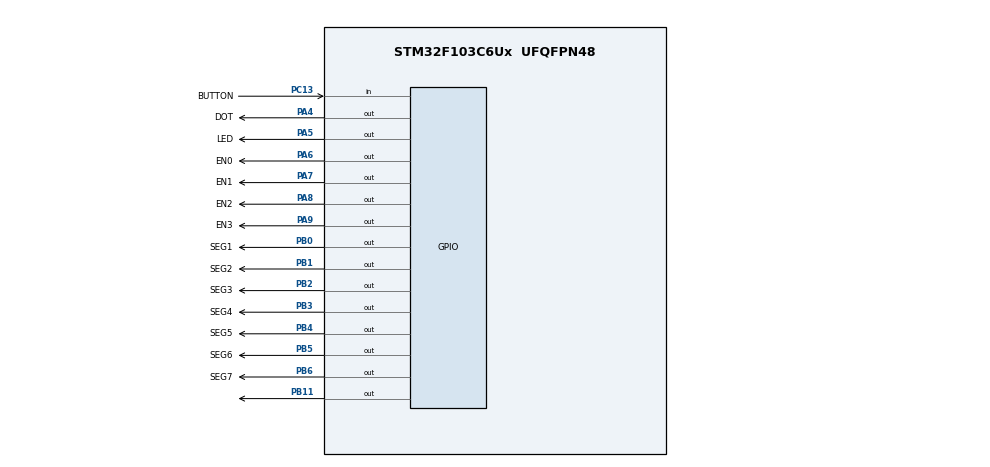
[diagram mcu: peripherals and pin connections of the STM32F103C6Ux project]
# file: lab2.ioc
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Mcu.Family=STM32F1
Mcu.Name=STM32F103C6Ux
Mcu.Package=UFQFPN48
NVIC.PriorityGroup=NVIC_PRIORITYGROUP_4
NVIC.TIM2_IRQn=true\:0\:0\:false\:false\:true\:true\:true
PA4.GPIO_Label=DOT
PA4.Signal=GPIO_Output
PA5.GPIO_Label=LED
PA5.Signal=GPIO_Output
PA6.GPIO_Label=EN0
PA6.Signal=GPIO_Output
PA7.GPIO_Label=EN1
PA7.Signal=GPIO_Output
PA8.GPIO_Label=EN2
PA8.Signal=GPIO_Output
PA9.GPIO_Label=EN3
PA9.Signal=GPIO_Output
PB0.GPIO_Label=SEG1
PB0.Signal=GPIO_Output
PB1.GPIO_Label=SEG2
PB1.Signal=GPIO_Output
PB11.Signal=GPIO_Output
PB2.GPIO_Label=SEG3
PB2.Signal=GPIO_Output
PB3.GPIO_Label=SEG4
PB3.Signal=GPIO_Output
PB4.GPIO_Label=SEG5
PB4.Signal=GPIO_Output
PB5.GPIO_Label=SEG6
PB5.Signal=GPIO_Output
PB6.GPIO_Label=SEG7
PB6.Signal=GPIO_Output
PC13-TAMPER-RTC.GPIO_Label=BUTTON
PC13-TAMPER-RTC.Signal=GPIO_Input
ProjectManager.HeapSize=0x200
ProjectManager.StackSize=0x400
ProjectManager.TargetToolchain=STM32CubeIDE
RCC.APB1Freq_Value=8000000
RCC.APB2Freq_Value=8000000
TIM1.Period=9
TIM1.Prescaler=7999
TIM2.Period=9
TIM2.Prescaler=7999
VP_SYS_VS_ND.Mode=No_Debug
VP_TIM1_VS_ClockSourceINT.Mode=Internal
VP_TIM2_VS_ClockSourceINT.Mode=Internal
board=custom

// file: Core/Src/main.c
/* USER CODE BEGIN Header */
/**
  ******************************************************************************
  * @file           : main.c
  * @brief          : Main program body
  ******************************************************************************
  * @attention
  *
  * <h2><center>&copy; Copyright (c) 2024 STMicroelectronics.
  * All rights reserved.</center></h2>
  *
  * This software component is licensed by ST under BSD 3-Clause license,
  * the "License"; You may not use this file except in compliance with the
  * License. You may obtain a copy of the License at:
  *                        opensource.org/licenses/BSD-3-Clause
  *
  ******************************************************************************
  */
/* USER CODE END Header */
#include "main.h"

TIM_HandleTypeDef htim1;
TIM_HandleTypeDef htim2;

void SystemClock_Config(void);
static void MX_TIM2_Init(void);
static void MX_GPIO_Init(void);
static void MX_TIM1_Init(void);

/* USER CODE BEGIN 0 */
int timer_count=0;
int timer_flag=0;
int TIME_CYCLE=10;
int timer_count1=0;
int timer_flag1=0;
void setTimer(int duration)
{
	timer_count=duration/TIME_CYCLE;
	timer_flag=0;
}

void timer_run()
{
	if(timer_count>0)
		{
		timer_count--;
		if(timer_count==0)timer_flag=1;
		}
}
void setTimer1(int duration)
{
	timer_count1=duration/TIME_CYCLE;
	timer_flag1=0;
}
void timer_run1()
{
	if(timer_count1>0)
		{
		timer_count1--;
		if(timer_count1==0)timer_flag1=1;
		}
}
/* USER CODE END 0 */

int main(void)
{

  /* MCU Configuration--------------------------------------------------------*/

  /* Reset of all peripherals, Initializes the Flash interface and the Systick. */
  HAL_Init();

  /* Configure the system clock */
  SystemClock_Config();

  /* USER CODE BEGIN SysInit */
  MX_GPIO_Init () ;
  /* USER CODE END SysInit */

  /* Initialize all configured peripherals */
  MX_TIM2_Init();
  MX_GPIO_Init();
  MX_TIM1_Init();
  /* USER CODE BEGIN 2 */
HAL_TIM_Base_Start_IT(&htim2);
  /* USER CODE END 2 */

  /* Infinite loop */
  /* USER CODE BEGIN WHILE */
const int MAX_LED=4;
int index=0;
int led_buffer[4]={1,2,3,4};
void update7SEG ( int index ) {
	switch(index)
	{
	case 0:
		open7segNumber(index);
		display7SEG(led_buffer[0]);
		break;
	case 1:
		open7segNumber(index);
		display7SEG(led_buffer[1]);
		break;
	case 2:
		open7segNumber(index);
		display7SEG(led_buffer[2]);
		break;
	case 3:
		open7segNumber(index);
		display7SEG(led_buffer[3]);
		break;
	}
}
void updateled(int h,int m)
{
	led_buffer[0]=h/10;
	led_buffer[1]=h%10;
	led_buffer[2]=m/10;
	led_buffer[3]=m%10;
}

int counter=100;
int hour=13;
int minute=8;
int second=50;
setTimer(10);
setTimer1(10);
  while (1)
  {

	  	 if(timer_flag==1)
	  	 {
	  		 setTimer(250);
	  		 if(index>3)
	  		 {
	  			 index=0;
	  			 update7SEG(index++);
	  		 }
	  		 else
	  		 {
	  			 update7SEG(index++);
	  		 }

	  	 }
	  	 if(timer_flag1==1)
	  		 {
	  		 second++;
	  		  if(second>=60)
	  		  	  {
	  		  		  minute++;
	  		  		  second=0;
	  		  	  }
	  		  	  if(minute>=60)
	  		  	  {
	  		  		  hour++;
	  		  		  minute=0;
	  		  	  }
	  		  	  if(hour>=24)
	  		  	  {
	  		  		  hour=0;
	  		  	  }

	  		  	  updateled(hour, minute);
  			 HAL_GPIO_TogglePin(DOT_GPIO_Port, DOT_Pin);
  			 setTimer1(1000);
	  		 }
    /* USER CODE END WHILE */

  }
}

void SystemClock_Config(void)
{
  RCC_OscInitTypeDef RCC_OscInitStruct = {0};
  RCC_ClkInitTypeDef RCC_ClkInitStruct = {0};

  /** Initializes the RCC Oscillators according to the specified parameters
  * in the RCC_OscInitTypeDef structure.
  */
  RCC_OscInitStruct.OscillatorType = RCC_OSCILLATORTYPE_HSI;
  RCC_OscInitStruct.HSIState = RCC_HSI_ON;
  RCC_OscInitStruct.HSICalibrationValue = RCC_HSICALIBRATION_DEFAULT;
  RCC_OscInitStruct.PLL.PLLState = RCC_PLL_NONE;
  if (HAL_RCC_OscConfig(&RCC_OscInitStruct) != HAL_OK)
  {
    Error_Handler();
  }
  /** Initializes the CPU, AHB and APB buses clocks
  */
  RCC_ClkInitStruct.ClockType = RCC_CLOCKTYPE_HCLK|RCC_CLOCKTYPE_SYSCLK
                              |RCC_CLOCKTYPE_PCLK1|RCC_CLOCKTYPE_PCLK2;
  RCC_ClkInitStruct.SYSCLKSource = RCC_SYSCLKSOURCE_HSI;
  RCC_ClkInitStruct.AHBCLKDivider = RCC_SYSCLK_DIV1;
  RCC_ClkInitStruct.APB1CLKDivider = RCC_HCLK_DIV1;
  RCC_ClkInitStruct.APB2CLKDivider = RCC_HCLK_DIV1;

  if (HAL_RCC_ClockConfig(&RCC_ClkInitStruct, FLASH_LATENCY_0) != HAL_OK)
  {
    Error_Handler();
  }
}

static void MX_TIM1_Init(void)
{

  TIM_ClockConfigTypeDef sClockSourceConfig = {0};
  TIM_MasterConfigTypeDef sMasterConfig = {0};

  htim1.Instance = TIM1;
  htim1.Init.Prescaler = 7999;
  htim1.Init.CounterMode = TIM_COUNTERMODE_UP;
  htim1.Init.Period = 9;
  htim1.Init.ClockDivision = TIM_CLOCKDIVISION_DIV1;
  htim1.Init.RepetitionCounter = 0;
  htim1.Init.AutoReloadPreload = TIM_AUTORELOAD_PRELOAD_DISABLE;
  if (HAL_TIM_Base_Init(&htim1) != HAL_OK)
  {
    Error_Handler();
  }
  sClockSourceConfig.ClockSource = TIM_CLOCKSOURCE_INTERNAL;
  if (HAL_TIM_ConfigClockSource(&htim1, &sClockSourceConfig) != HAL_OK)
  {
    Error_Handler();
  }
  sMasterConfig.MasterOutputTrigger = TIM_TRGO_RESET;
  sMasterConfig.MasterSlaveMode = TIM_MASTERSLAVEMODE_DISABLE;
  if (HAL_TIMEx_MasterConfigSynchronization(&htim1, &sMasterConfig) != HAL_OK)
  {
    Error_Handler();
  }

}

static void MX_TIM2_Init(void)
{

  TIM_ClockConfigTypeDef sClockSourceConfig = {0};
  TIM_MasterConfigTypeDef sMasterConfig = {0};

  htim2.Instance = TIM2;
  htim2.Init.Prescaler = 7999;
  htim2.Init.CounterMode = TIM_COUNTERMODE_UP;
  htim2.Init.Period = 9;
  htim2.Init.ClockDivision = TIM_CLOCKDIVISION_DIV1;
  htim2.Init.AutoReloadPreload = TIM_AUTORELOAD_PRELOAD_DISABLE;
  if (HAL_TIM_Base_Init(&htim2) != HAL_OK)
  {
    Error_Handler();
  }
  sClockSourceConfig.ClockSource = TIM_CLOCKSOURCE_INTERNAL;
  if (HAL_TIM_ConfigClockSource(&htim2, &sClockSourceConfig) != HAL_OK)
  {
    Error_Handler();
  }
  sMasterConfig.MasterOutputTrigger = TIM_TRGO_RESET;
  sMasterConfig.MasterSlaveMode = TIM_MASTERSLAVEMODE_DISABLE;
  if (HAL_TIMEx_MasterConfigSynchronization(&htim2, &sMasterConfig) != HAL_OK)
  {
    Error_Handler();
  }

}

static void MX_GPIO_Init(void)
{
  GPIO_InitTypeDef GPIO_InitStruct = {0};

  /* GPIO Ports Clock Enable */
  __HAL_RCC_GPIOC_CLK_ENABLE();
  __HAL_RCC_GPIOA_CLK_ENABLE();
  __HAL_RCC_GPIOB_CLK_ENABLE();

  /*Configure GPIO pin Output Level */
  HAL_GPIO_WritePin(GPIOA, DOT_Pin|LED_Pin|EN0_Pin|EN1_Pin
                          |EN2_Pin|EN3_Pin, GPIO_PIN_RESET);

  /*Configure GPIO pin Output Level */
  HAL_GPIO_WritePin(GPIOB, SEG1_Pin|SEG2_Pin|SEG3_Pin|GPIO_PIN_11
                          |SEG4_Pin|SEG5_Pin|SEG6_Pin|SEG7_Pin, GPIO_PIN_RESET);

  /*Configure GPIO pin : BUTTON_Pin */
  GPIO_InitStruct.Pin = BUTTON_Pin;
  GPIO_InitStruct.Mode = GPIO_MODE_INPUT;
  GPIO_InitStruct.Pull = GPIO_NOPULL;
  HAL_GPIO_Init(BUTTON_GPIO_Port, &GPIO_InitStruct);

  /*Configure GPIO pins : DOT_Pin LED_Pin EN0_Pin EN1_Pin
                           EN2_Pin EN3_Pin */
  GPIO_InitStruct.Pin = DOT_Pin|LED_Pin|EN0_Pin|EN1_Pin
                          |EN2_Pin|EN3_Pin;
  GPIO_InitStruct.Mode = GPIO_MODE_OUTPUT_PP;
  GPIO_InitStruct.Pull = GPIO_NOPULL;
  GPIO_InitStruct.Speed = GPIO_SPEED_FREQ_LOW;
  HAL_GPIO_Init(GPIOA, &GPIO_InitStruct);

  /*Configure GPIO pins : SEG1_Pin SEG2_Pin SEG3_Pin PB11
                           SEG4_Pin SEG5_Pin SEG6_Pin SEG7_Pin */
  GPIO_InitStruct.Pin = SEG1_Pin|SEG2_Pin|SEG3_Pin|GPIO_PIN_11
                          |SEG4_Pin|SEG5_Pin|SEG6_Pin|SEG7_Pin;
  GPIO_InitStruct.Mode = GPIO_MODE_OUTPUT_PP;
  GPIO_InitStruct.Pull = GPIO_NOPULL;
  GPIO_InitStruct.Speed = GPIO_SPEED_FREQ_LOW;
  HAL_GPIO_Init(GPIOB, &GPIO_InitStruct);

}

/* USER CODE BEGIN 4 */

 void HAL_TIM_PeriodElapsedCallback ( TIM_HandleTypeDef * htim )
{
	 timer_run();
	 timer_run1();
 }

/* USER CODE END 4 */

void Error_Handler(void)
{
  __disable_irq();
  while (1)
  {
  }
}

/************************ (C) COPYRIGHT STMicroelectronics *****END OF FILE****/
